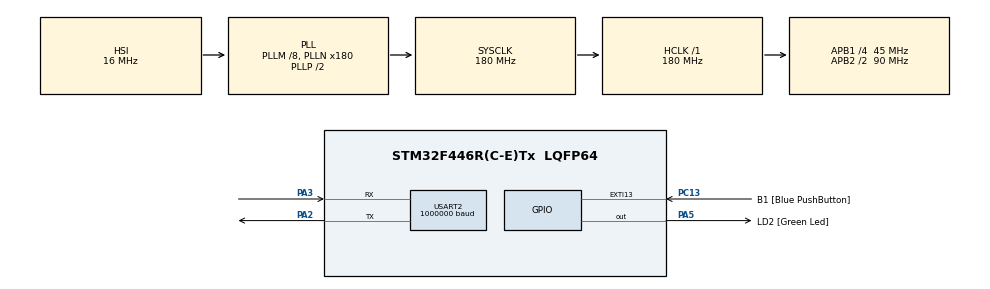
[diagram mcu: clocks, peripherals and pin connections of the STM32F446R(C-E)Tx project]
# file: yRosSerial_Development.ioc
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Dma.Request0=USART2_RX
Dma.Request1=USART2_TX
Dma.USART2_RX.0.Direction=DMA_PERIPH_TO_MEMORY
Dma.USART2_RX.0.FIFOMode=DMA_FIFOMODE_DISABLE
Dma.USART2_RX.0.Instance=DMA1_Stream5
Dma.USART2_RX.0.MemDataAlignment=DMA_MDATAALIGN_BYTE
Dma.USART2_RX.0.MemInc=DMA_MINC_ENABLE
Dma.USART2_RX.0.Mode=DMA_CIRCULAR
Dma.USART2_RX.0.PeriphDataAlignment=DMA_PDATAALIGN_BYTE
Dma.USART2_RX.0.PeriphInc=DMA_PINC_DISABLE
Dma.USART2_RX.0.Priority=DMA_PRIORITY_LOW
Dma.USART2_TX.1.Direction=DMA_MEMORY_TO_PERIPH
Dma.USART2_TX.1.FIFOMode=DMA_FIFOMODE_DISABLE
Dma.USART2_TX.1.Instance=DMA1_Stream6
Dma.USART2_TX.1.MemDataAlignment=DMA_MDATAALIGN_BYTE
Dma.USART2_TX.1.MemInc=DMA_MINC_ENABLE
Dma.USART2_TX.1.Mode=DMA_NORMAL
Dma.USART2_TX.1.PeriphDataAlignment=DMA_PDATAALIGN_BYTE
Dma.USART2_TX.1.PeriphInc=DMA_PINC_DISABLE
Dma.USART2_TX.1.Priority=DMA_PRIORITY_LOW
Mcu.Family=STM32F4
Mcu.Name=STM32F446R(C-E)Tx
Mcu.Package=LQFP64
NVIC.DMA1_Stream5_IRQn=true\:0\:0\:false\:false\:true\:false\:true\:true
NVIC.DMA1_Stream6_IRQn=true\:0\:0\:false\:false\:true\:false\:true\:true
NVIC.PriorityGroup=NVIC_PRIORITYGROUP_0
NVIC.USART2_IRQn=true\:0\:0\:false\:false\:true\:true\:true\:true
PA13.GPIO_Label=TMS
PA13.Signal=SYS_JTMS-SWDIO
PA14.GPIO_Label=TCK
PA14.Signal=SYS_JTCK-SWCLK
PA2.GPIO_ModeDefaultPP=GPIO_MODE_AF_PP
PA2.GPIO_PuPd=GPIO_NOPULL
PA2.GPIO_Speed=GPIO_SPEED_FREQ_VERY_HIGH
PA2.Mode=Asynchronous
PA2.Signal=USART2_TX
PA3.GPIO_ModeDefaultPP=GPIO_MODE_AF_PP
PA3.GPIO_PuPd=GPIO_NOPULL
PA3.GPIO_Speed=GPIO_SPEED_FREQ_VERY_HIGH
PA3.Mode=Asynchronous
PA3.Signal=USART2_RX
PA5.GPIO_Label=LD2 [Green Led]
PA5.Signal=GPIO_Output
PB3.GPIO_Label=SWO
PB3.Signal=SYS_JTDO-SWO
PC13.GPIO_Label=B1 [Blue PushButton]
PC13.GPIO_ModeDefaultEXTI=GPIO_MODE_IT_FALLING
PC13.Signal=GPXTI13
PC14-OSC32_IN.Signal=RCC_OSC32_IN
PC15-OSC32_OUT.Signal=RCC_OSC32_OUT
PH0-OSC_IN.Signal=RCC_OSC_IN
PH1-OSC_OUT.Signal=RCC_OSC_OUT
ProjectManager.HeapSize=0x200
ProjectManager.StackSize=0x400
ProjectManager.TargetToolchain=STM32CubeIDE
RCC.AHBFreq_Value=180000000
RCC.APB1CLKDivider=RCC_HCLK_DIV4
RCC.APB1Freq_Value=45000000
RCC.APB1TimFreq_Value=90000000
RCC.APB2CLKDivider=RCC_HCLK_DIV2
RCC.APB2Freq_Value=90000000
RCC.APB2TimFreq_Value=180000000
RCC.CortexFreq_Value=180000000
RCC.FLatency-AdvancedSettings=FLASH_LATENCY_5
RCC.HCLKFreq_Value=180000000
RCC.HSE_VALUE=8000000
RCC.HSI_VALUE=16000000
RCC.LSE_VALUE=32768
RCC.PLLM=8
RCC.PLLN=180
RCC.SYSCLKFreq_VALUE=180000000
RCC.SYSCLKSource=RCC_SYSCLKSOURCE_PLLCLK
RCC.USBFreq_Value=180000000
RCC.VCOOutputFreq_Value=360000000
USART2.BaudRate=1000000
USART2.VirtualMode=VM_ASYNC
board=NUCLEO-F446RE

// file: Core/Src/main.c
/* USER CODE BEGIN Header */
/**
 ******************************************************************************
 * @file           : main.c
 * @brief          : Main program body
 ******************************************************************************
 * @attention
 *
 * Copyright (c) 2023 STMicroelectronics.
 * All rights reserved.
 *
 * This software is licensed under terms that can be found in the LICENSE file
 * in the root directory of this software component.
 * If no LICENSE file comes with this software, it is provided AS-IS.
 *
 ******************************************************************************
 */
/* USER CODE END Header */
#include "main.h"

/* USER CODE BEGIN Includes */
#include "yrosserial.h"
#include "stringCallback.h"
#include "odometry2dCallback.h"
#include "twist2dCallback.h"

#include "u8mCallback.h"
#include "s8mCallback.h"
#include "u16mCallback.h"
#include "s16mCallback.h"
#include "u32mCallback.h"
#include "s32mCallback.h"
#include "u64mCallback.h"
#include "s64mCallback.h"
#include "f32mCallback.h"
#include "f64mCallback.h"

#include "u8Callback.h"
#include "s8Callback.h"
#include "u16Callback.h"
#include "s16Callback.h"
#include "u32Callback.h"
#include "s32Callback.h"
#include "u64Callback.h"
#include "s64Callback.h"
#include "f32Callback.h"
#include "f64Callback.h"
/* USER CODE END Includes */

UART_HandleTypeDef huart2;
DMA_HandleTypeDef hdma_usart2_rx;
DMA_HandleTypeDef hdma_usart2_tx;

/* USER CODE BEGIN PV */

uint8_t r[1024] = { 0 };
uint8_t t[2048] = { 0 };
RingBuffer_t rb;
int a = 0;
int a_max = 0;
int tc = 0;
int tc_max = 0;
int cnt = 0;

// ---- data for subscriber ---- //
float f32;
double f64;
uint8_t subU8M[L_ARRAY];
int8_t subS8M[L_ARRAY];
uint16_t subU16M[L_ARRAY];
int16_t subS16M[L_ARRAY];
uint32_t subU32M[L_ARRAY];
int32_t subS32M[L_ARRAY];
uint64_t subU64M[L_ARRAY];
int64_t subS64M[L_ARRAY];
double subF64M[L_ARRAY];
float subF32M[L_ARRAY];

uint8_t subU8;
int8_t subS8;
uint16_t subU16;
int16_t subS16;
uint32_t subU32;
int32_t subS32;
uint64_t subU64;
int64_t subS64;

yRosSerial_odometry2d_t odometry2d;
yRosSerial_twist2d_t twist2d;

int64_t mna[8]; //monitor non array
uint32_t lastPublish; // to save last time the publish is performed

//extern RingBuffer_t *rx;
//extern RingBuffer_t *tx;
/* USER CODE END PV */

void SystemClock_Config(void);
static void MX_GPIO_Init(void);
static void MX_DMA_Init(void);
static void MX_USART2_UART_Init(void);

/* USER CODE BEGIN 0 */
extern Rb2_t rbRx;
/* USER CODE END 0 */

int main(void)
{

	/* MCU Configuration--------------------------------------------------------*/

	/* Reset of all peripherals, Initializes the Flash interface and the Systick. */
	HAL_Init();

	/* Configure the system clock */
	SystemClock_Config();

	/* Initialize all configured peripherals */
	MX_GPIO_Init();
	MX_DMA_Init();
	MX_USART2_UART_Init();

	/* Infinite loop */
	/* USER CODE BEGIN WHILE */
	HAL_UART_DeInit(&huart2);
	HAL_UART_Init(&huart2);
	yRosSerial_setting_t rosSerialSetting;
	rosSerialSetting.rxBufSize = 1024;
	rosSerialSetting.txBufSize = 1024;
//	rosSerialSetting.rx = r;
//	rosSerialSetting.tx = t;
	rosSerialSetting.huart = &huart2;
	rosSerialSetting.hdma_rx = &hdma_usart2_rx;
	yRosSerial_init(&rosSerialSetting);

	yRosSerial_pubHandle_t *pubTest1 = yRosSerial_advertise("/pub_string", MT_STRING);
	yRosSerial_pubHandle_t *pubTest4 = yRosSerial_advertise("/pub_odometry", MT_ODOMETRY2D);
	yRosSerial_pubHandle_t *pubTest5 = yRosSerial_advertise("/pub_twist", MT_TWIST2D);
	yRosSerial_pubHandle_t *pubU8M = yRosSerial_advertise("/pub_u8m", MT_UINT8_MULTIARRAY);
	yRosSerial_pubHandle_t *pubS8M = yRosSerial_advertise("/pub_s8m", MT_INT8_MULTIARRAY);
	yRosSerial_pubHandle_t *pubU16M = yRosSerial_advertise("/pub_u16m", MT_UINT16_MULTIARRAY);
	yRosSerial_pubHandle_t *pubS16M = yRosSerial_advertise("/pub_s16m", MT_INT16_MULTIARRAY);
	yRosSerial_pubHandle_t *pubU32M = yRosSerial_advertise("/pub_u32m", MT_UINT32_MULTIARRAY);
	yRosSerial_pubHandle_t *pubS32M = yRosSerial_advertise("/pub_s32m", MT_INT32_MULTIARRAY);
	yRosSerial_pubHandle_t *pubU64M = yRosSerial_advertise("/pub_u64m", MT_UINT64_MULTIARRAY);
	yRosSerial_pubHandle_t *pubS64M = yRosSerial_advertise("/pub_s64m", MT_INT64_MULTIARRAY);
	yRosSerial_pubHandle_t *pubF32M = yRosSerial_advertise("/pub_f32m", MT_FLOAT32_MULTIARRAY);
	yRosSerial_pubHandle_t *pubF64M = yRosSerial_advertise("/pub_f64m", MT_FLOAT64_MULTIARRAY);

	yRosSerial_pubHandle_t *pubU8 = yRosSerial_advertise("/pub_u8", MT_UINT8);
	yRosSerial_pubHandle_t *pubS8 = yRosSerial_advertise("/pub_s8", MT_INT8);
	yRosSerial_pubHandle_t *pubU16 = yRosSerial_advertise("/pub_u16", MT_UINT16);
	yRosSerial_pubHandle_t *pubS16 = yRosSerial_advertise("/pub_s16", MT_INT16);
	yRosSerial_pubHandle_t *pubU32 = yRosSerial_advertise("/pub_u32", MT_UINT32);
	yRosSerial_pubHandle_t *pubS32 = yRosSerial_advertise("/pub_s32", MT_INT32);
	yRosSerial_pubHandle_t *pubU64 = yRosSerial_advertise("/pub_u64", MT_UINT64);
	yRosSerial_pubHandle_t *pubS64 = yRosSerial_advertise("/pub_s64", MT_INT64);
	yRosSerial_pubHandle_t *pubF32 = yRosSerial_advertise("/pub_f32", MT_FLOAT32);
	yRosSerial_pubHandle_t *pubF64 = yRosSerial_advertise("/pub_f64", MT_FLOAT64);

	yRosSerial_subscribe("/subString", MT_STRING, stringCallback);
	yRosSerial_subscribe("/subOdometry", MT_ODOMETRY2D, odometry2dCallback);
	yRosSerial_subscribe("/subTwist", MT_TWIST2D, twist2dCallback);

	yRosSerial_subscribe("/sub_u8m", MT_UINT8_MULTIARRAY, u8mCallback);
	yRosSerial_subscribe("/sub_s8m", MT_INT8_MULTIARRAY, s8mCallback);
	yRosSerial_subscribe("/sub_u16m", MT_UINT16_MULTIARRAY, u16mCallback);
	yRosSerial_subscribe("/sub_s16m", MT_INT16_MULTIARRAY, s16mCallback);
	yRosSerial_subscribe("/sub_u32m", MT_UINT32_MULTIARRAY, u32mCallback);
	yRosSerial_subscribe("/sub_s32m", MT_INT32_MULTIARRAY, s32mCallback);
	yRosSerial_subscribe("/sub_u64m", MT_UINT64_MULTIARRAY, u64mCallback);
	yRosSerial_subscribe("/sub_s64m", MT_INT64_MULTIARRAY, s64mCallback);
	yRosSerial_subscribe("/sub_f32m", MT_FLOAT32_MULTIARRAY, f32mCallback);
	yRosSerial_subscribe("/sub_f64m", MT_FLOAT64_MULTIARRAY, f64mCallback);

	yRosSerial_subscribe("/sub_u8", MT_UINT8, u8Callback);
	yRosSerial_subscribe("/sub_s8", MT_INT8, s8Callback);
	yRosSerial_subscribe("/sub_u16", MT_UINT16, u16Callback);
	yRosSerial_subscribe("/sub_s16", MT_INT16, s16Callback);
	yRosSerial_subscribe("/sub_u32", MT_UINT32, u32Callback);
	yRosSerial_subscribe("/sub_s32", MT_INT32, s32Callback);
	yRosSerial_subscribe("/sub_u64", MT_UINT64, u64Callback);
	yRosSerial_subscribe("/sub_s64", MT_INT64, s64Callback);
	yRosSerial_subscribe("/sub_f32", MT_FLOAT32, f32Callback);
	yRosSerial_subscribe("/sub_f64", MT_FLOAT64, f64Callback);

	char bufferMsg[256];

	// message that will be used to publish the data to the topics
	yRosSerial_string_t strMsg = { 0 };
	yRosSerial_odometry2d_t odometryMsg = { 0 };
	yRosSerial_twist2d_t twistMsg = { 0 };

	yRosSerial_uint8_t u8Msg = { 0 };
	yRosSerial_int8_t s8Msg = { 0 };
	yRosSerial_uint16_t u16Msg = { 0 };
	yRosSerial_int16_t s16Msg = { 0 };
	yRosSerial_uint32_t u32Msg = { 0 };
	yRosSerial_int32_t s32Msg = { 0 };
	yRosSerial_uint64_t u64Msg = { 0 };
	yRosSerial_int64_t s64Msg = { 0 };
	yRosSerial_float32_t f32Msg = { 0 };
	yRosSerial_float64_t f64Msg = { 0 };

	strMsg.data = bufferMsg;

	uint8_t u8mData[L_ARRAY];
	yRosSerial_uint8mul_t u8mMsg = { 0 };
	u8mMsg.data = u8mData;
	u8mMsg.length = L_ARRAY;

	int8_t s8mData[L_ARRAY];
	yRosSerial_int8mul_t s8mMsg = { 0 };
	s8mMsg.data = s8mData;
	s8mMsg.length = L_ARRAY;

	uint16_t u16mData[L_ARRAY];
	yRosSerial_uint16mul_t u16mMsg = { 0 };
	u16mMsg.data = u16mData;
	u16mMsg.length = L_ARRAY;

	int16_t s16mData[L_ARRAY];
	yRosSerial_int16mul_t s16mMsg = { 0 };
	s16mMsg.data = s16mData;
	s16mMsg.length = L_ARRAY;

	uint32_t u32mData[L_ARRAY];
	yRosSerial_uint32mul_t u32mMsg = { 0 };
	u32mMsg.data = u32mData;
	u32mMsg.length = L_ARRAY;

	int32_t s32mData[L_ARRAY];
	yRosSerial_int32mul_t s32mMsg = { 0 };
	s32mMsg.data = s32mData;
	s32mMsg.length = L_ARRAY;

	uint64_t u64mData[L_ARRAY];
	yRosSerial_uint64mul_t u64mMsg = { 0 };
	u64mMsg.data = u64mData;
	u64mMsg.length = L_ARRAY;

	int64_t s64mData[L_ARRAY];
	yRosSerial_int64mul_t s64mMsg = { 0 };
	s64mMsg.data = s64mData;
	s64mMsg.length = L_ARRAY;

	float f32mData[L_ARRAY];
	yRosSerial_float32mul_t f32mMsg = { 0 };
	f32mMsg.data = f32mData;
	f32mMsg.length = L_ARRAY;

	double f64mData[L_ARRAY];
	yRosSerial_float64mul_t f64mMsg = { 0 };
	f64mMsg.data = f64mData;
	f64mMsg.length = L_ARRAY;

	for (int i = 0; i < L_ARRAY; i++)
	{
		u8mData[i] = i;
		s8mData[i] = i;
		u16mData[i] = i;
		s16mData[i] = i;
		u32mData[i] = i;
		s32mData[i] = i;
		u64mData[i] = i;
		s64mData[i] = i;
		f32mData[i] = i;
		f64mData[i] = i;
	}

	while (1)
	{
		/* USER CODE END WHILE */

		/* USER CODE BEGIN 3 */
		if ((uint32_t) (HAL_GetTick() - lastPublish) > 100) //limit publish rate
		{
			lastPublish = HAL_GetTick();
			sprintf(bufferMsg, "Hi.... Yoyoyoyo.... From Pub1 (%d)", cnt++);
			yRosSerial_publish(pubTest1, &strMsg);

			yRosSerial_publish(pubF32, &f32Msg);
			yRosSerial_publish(pubF64, &f64Msg);

			yRosSerial_publish(pubTest4, &odometryMsg);
			odometryMsg.x += 0.01;
			odometryMsg.y += 0.02;
			odometryMsg.w += 0.03;

			yRosSerial_publish(pubTest5, &twistMsg);
			twistMsg.x += 1;
			twistMsg.y += 2;
			twistMsg.w += 3;

			yRosSerial_publish(pubU8M, &u8mMsg); //HAL_Delay(1);
			yRosSerial_publish(pubS8M, &s8mMsg);  //HAL_Delay(1);
			yRosSerial_publish(pubU16M, &u16mMsg); //HAL_Delay(1);
			yRosSerial_publish(pubS16M, &s16mMsg); //HAL_Delay(1);
			yRosSerial_publish(pubU32M, &u32mMsg); //HAL_Delay(1);
			yRosSerial_publish(pubS32M, &s32mMsg); //HAL_Delay(1);
			yRosSerial_publish(pubU64M, &u64mMsg); //HAL_Delay(1);
			yRosSerial_publish(pubS64M, &s64mMsg); //HAL_Delay(1);
			yRosSerial_publish(pubF32M, &f32mMsg); //HAL_Delay(1);
			yRosSerial_publish(pubF64M, &f64mMsg); //HAL_Delay(1);

			yRosSerial_publish(pubU8, &u8Msg);
			yRosSerial_publish(pubS8, &s8Msg);
			yRosSerial_publish(pubU16, &u16Msg);
			yRosSerial_publish(pubS16, &s16Msg);
			yRosSerial_publish(pubU32, &u32Msg);
			yRosSerial_publish(pubS32, &s32Msg);
			yRosSerial_publish(pubU64, &u64Msg);
			yRosSerial_publish(pubS64, &s64Msg);

			for (int i = 0; i < L_ARRAY; i++)
			{
				u8mData[i]++;
				s8mData[i]--;
				u16mData[i]++;
				s16mData[i]--;
				u32mData[i]++;
				s32mData[i]--;
				u64mData[i]++;
				s64mData[i]--;
				f32mData[i] += 1;
				f64mData[i] -= 1;
			}

			u8Msg.data++;
			s8Msg.data--;
			u16Msg.data++;
			s16Msg.data--;
			u32Msg.data++;
			s32Msg.data--;
			u64Msg.data++;
			s64Msg.data--;
			f32Msg.data += 0.1;
			f64Msg.data -= 0.1;
		}

		yRosSerial_getRxBuffer(r); //only for checking memory from Debug
//		yRosSerial_getTxBuffer(t); //only for checking memory from Debug
		a = rb2_getAvailable(&rbRx);
		if (a > a_max) a_max = a;

		tc = yRosSerial_getTxCount();
		if (tc > tc_max) tc_max = tc;
//		check();

		yRosSerial_spin();

		mna[0] = subS8;
		mna[1] = subU8;
		mna[2] = subS16;
		mna[3] = subU16;
		mna[4] = subS32;
		mna[5] = subU32;
		mna[6] = subS64;
		mna[7] = subU64;
//		dma = HAL_DMA_GetState(&hdma_usart2_rx);
//		while(cnt > 1013);
//		a = yRosSerial_getTxCount();
		HAL_Delay(1);
	}
	/* USER CODE END 3 */
}

void SystemClock_Config(void)
{
	RCC_OscInitTypeDef RCC_OscInitStruct = { 0 };
	RCC_ClkInitTypeDef RCC_ClkInitStruct = { 0 };

	/** Configure the main internal regulator output voltage
	 */
	__HAL_RCC_PWR_CLK_ENABLE();
	__HAL_PWR_VOLTAGESCALING_CONFIG(PWR_REGULATOR_VOLTAGE_SCALE1);

	/** Initializes the RCC Oscillators according to the specified parameters
	 * in the RCC_OscInitTypeDef structure.
	 */
	RCC_OscInitStruct.OscillatorType = RCC_OSCILLATORTYPE_HSI;
	RCC_OscInitStruct.HSIState = RCC_HSI_ON;
	RCC_OscInitStruct.HSICalibrationValue = RCC_HSICALIBRATION_DEFAULT;
	RCC_OscInitStruct.PLL.PLLState = RCC_PLL_ON;
	RCC_OscInitStruct.PLL.PLLSource = RCC_PLLSOURCE_HSI;
	RCC_OscInitStruct.PLL.PLLM = 8;
	RCC_OscInitStruct.PLL.PLLN = 180;
	RCC_OscInitStruct.PLL.PLLP = RCC_PLLP_DIV2;
	RCC_OscInitStruct.PLL.PLLQ = 2;
	RCC_OscInitStruct.PLL.PLLR = 2;
	if (HAL_RCC_OscConfig(&RCC_OscInitStruct) != HAL_OK)
	{
		Error_Handler();
	}

	/** Activate the Over-Drive mode
	 */
	if (HAL_PWREx_EnableOverDrive() != HAL_OK)
	{
		Error_Handler();
	}

	/** Initializes the CPU, AHB and APB buses clocks
	 */
	RCC_ClkInitStruct.ClockType = RCC_CLOCKTYPE_HCLK | RCC_CLOCKTYPE_SYSCLK | RCC_CLOCKTYPE_PCLK1 | RCC_CLOCKTYPE_PCLK2;
	RCC_ClkInitStruct.SYSCLKSource = RCC_SYSCLKSOURCE_PLLCLK;
	RCC_ClkInitStruct.AHBCLKDivider = RCC_SYSCLK_DIV1;
	RCC_ClkInitStruct.APB1CLKDivider = RCC_HCLK_DIV4;
	RCC_ClkInitStruct.APB2CLKDivider = RCC_HCLK_DIV2;

	if (HAL_RCC_ClockConfig(&RCC_ClkInitStruct, FLASH_LATENCY_5) != HAL_OK)
	{
		Error_Handler();
	}
}

static void MX_USART2_UART_Init(void)
{

	huart2.Instance = USART2;
	huart2.Init.BaudRate = 1000000;
	huart2.Init.WordLength = UART_WORDLENGTH_8B;
	huart2.Init.StopBits = UART_STOPBITS_1;
	huart2.Init.Parity = UART_PARITY_NONE;
	huart2.Init.Mode = UART_MODE_TX_RX;
	huart2.Init.HwFlowCtl = UART_HWCONTROL_NONE;
	huart2.Init.OverSampling = UART_OVERSAMPLING_16;
	if (HAL_UART_Init(&huart2) != HAL_OK)
	{
		Error_Handler();
	}

}

static void MX_DMA_Init(void)
{

	/* DMA controller clock enable */
	__HAL_RCC_DMA1_CLK_ENABLE();

	/* DMA interrupt init */
	/* DMA1_Stream5_IRQn interrupt configuration */
	HAL_NVIC_SetPriority(DMA1_Stream5_IRQn, 0, 0);
	HAL_NVIC_EnableIRQ(DMA1_Stream5_IRQn);
	/* DMA1_Stream6_IRQn interrupt configuration */
	HAL_NVIC_SetPriority(DMA1_Stream6_IRQn, 0, 0);
	HAL_NVIC_EnableIRQ(DMA1_Stream6_IRQn);

}

static void MX_GPIO_Init(void)
{
	GPIO_InitTypeDef GPIO_InitStruct = { 0 };

	/* GPIO Ports Clock Enable */
	__HAL_RCC_GPIOC_CLK_ENABLE();
	__HAL_RCC_GPIOH_CLK_ENABLE();
	__HAL_RCC_GPIOA_CLK_ENABLE();
	__HAL_RCC_GPIOB_CLK_ENABLE();

	/*Configure GPIO pin Output Level */
	HAL_GPIO_WritePin(LD2_GPIO_Port, LD2_Pin, GPIO_PIN_RESET);

	/*Configure GPIO pin : B1_Pin */
	GPIO_InitStruct.Pin = B1_Pin;
	GPIO_InitStruct.Mode = GPIO_MODE_IT_FALLING;
	GPIO_InitStruct.Pull = GPIO_NOPULL;
	HAL_GPIO_Init(B1_GPIO_Port, &GPIO_InitStruct);

	/*Configure GPIO pin : LD2_Pin */
	GPIO_InitStruct.Pin = LD2_Pin;
	GPIO_InitStruct.Mode = GPIO_MODE_OUTPUT_PP;
	GPIO_InitStruct.Pull = GPIO_NOPULL;
	GPIO_InitStruct.Speed = GPIO_SPEED_FREQ_LOW;
	HAL_GPIO_Init(LD2_GPIO_Port, &GPIO_InitStruct);

}

/* USER CODE BEGIN 4 */
//void HAL_UARTEx_RxEventCallback(UART_HandleTypeDef *huart, uint16_t Size)
//{
//	yRosSerial_handleCompleteReceive(huart, Size);
////	HAL_Delay(1);
//}

void HAL_UART_TxCpltCallback(UART_HandleTypeDef *huart)
{
	yRosSerial_handleCompleteTransmit(huart);
}

int _write(int file, char *ptr, int len)
{
	int DataIdx;

	for (DataIdx = 0; DataIdx < len; DataIdx++)
	{
		ITM_SendChar(*ptr++);
	}
	return len;
}
/* USER CODE END 4 */

void Error_Handler(void)
{
	__disable_irq();
	while (1)
	{
	}
}
